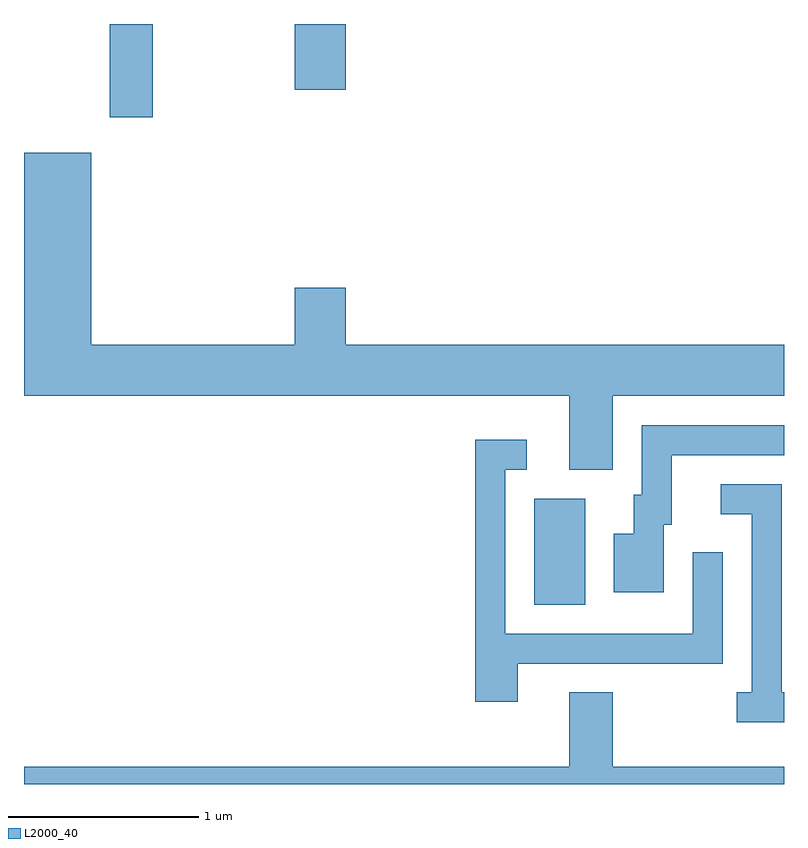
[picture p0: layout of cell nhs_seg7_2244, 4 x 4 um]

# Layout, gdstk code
import gdstk
lib = gdstk.Library(unit=1e-6, precision=1e-09)
def R(c, l, rs):  # rectangles x0, y0, x1, y1
    for r in rs: c.add(gdstk.rectangle(r[:2], r[2:], *l))
def P(c, l, *ps):  # polygons
    for p in ps: c.add(gdstk.Polygon(p, *l))
L2000_40 = (2000, 40)

nhs_seg7_2244 = lib.new_cell('nhs_seg7_2244')
R(nhs_seg7_2244, L2000_40, [(256.296,1733.196,256.564,1733.754), (254.061,1735.761,254.289,1736.252), (255.036,1735.906,255.304,1736.252)])
P(nhs_seg7_2244, L2000_40, [(255.304,1734.864),(255.036,1734.864),(255.036,1734.564),(253.964,1734.564),(253.964,1735.574),(253.611,1735.574),(253.611,1734.296),(256.481,1734.296),(256.481,1733.906),(256.709,1733.906),(256.709,1734.296),(257.611,1734.296),(257.611,1734.564),(255.304,1734.564)],
  [(256.979,1733.616),(257.019,1733.616),(257.019,1733.981),(257.611,1733.981),(257.611,1734.139),(256.861,1734.139),(256.861,1733.774),(256.821,1733.774),(256.821,1733.569),(256.716,1733.569),(256.716,1733.261),(256.979,1733.261)],
  [(256.209,1732.886),(257.289,1732.886),(257.289,1733.473),(257.131,1733.473),(257.131,1733.044),(256.144,1733.044),(256.144,1733.906),(256.258,1733.906),(256.258,1734.064),(255.986,1734.064),(255.986,1732.686),(256.209,1732.686)],
  [(257.611,1732.734),(257.599,1732.734),(257.599,1733.829),(257.278,1733.829),(257.278,1733.671),(257.441,1733.671),(257.441,1732.734),(257.363,1732.734),(257.363,1732.576),(257.611,1732.576)],
  [(257.611,1732.344),(256.709,1732.344),(256.709,1732.734),(256.481,1732.734),(256.481,1732.344),(253.611,1732.344),(253.611,1732.252),(257.611,1732.252)])

lib.write_gds('nhs_seg7_2244.gds')
